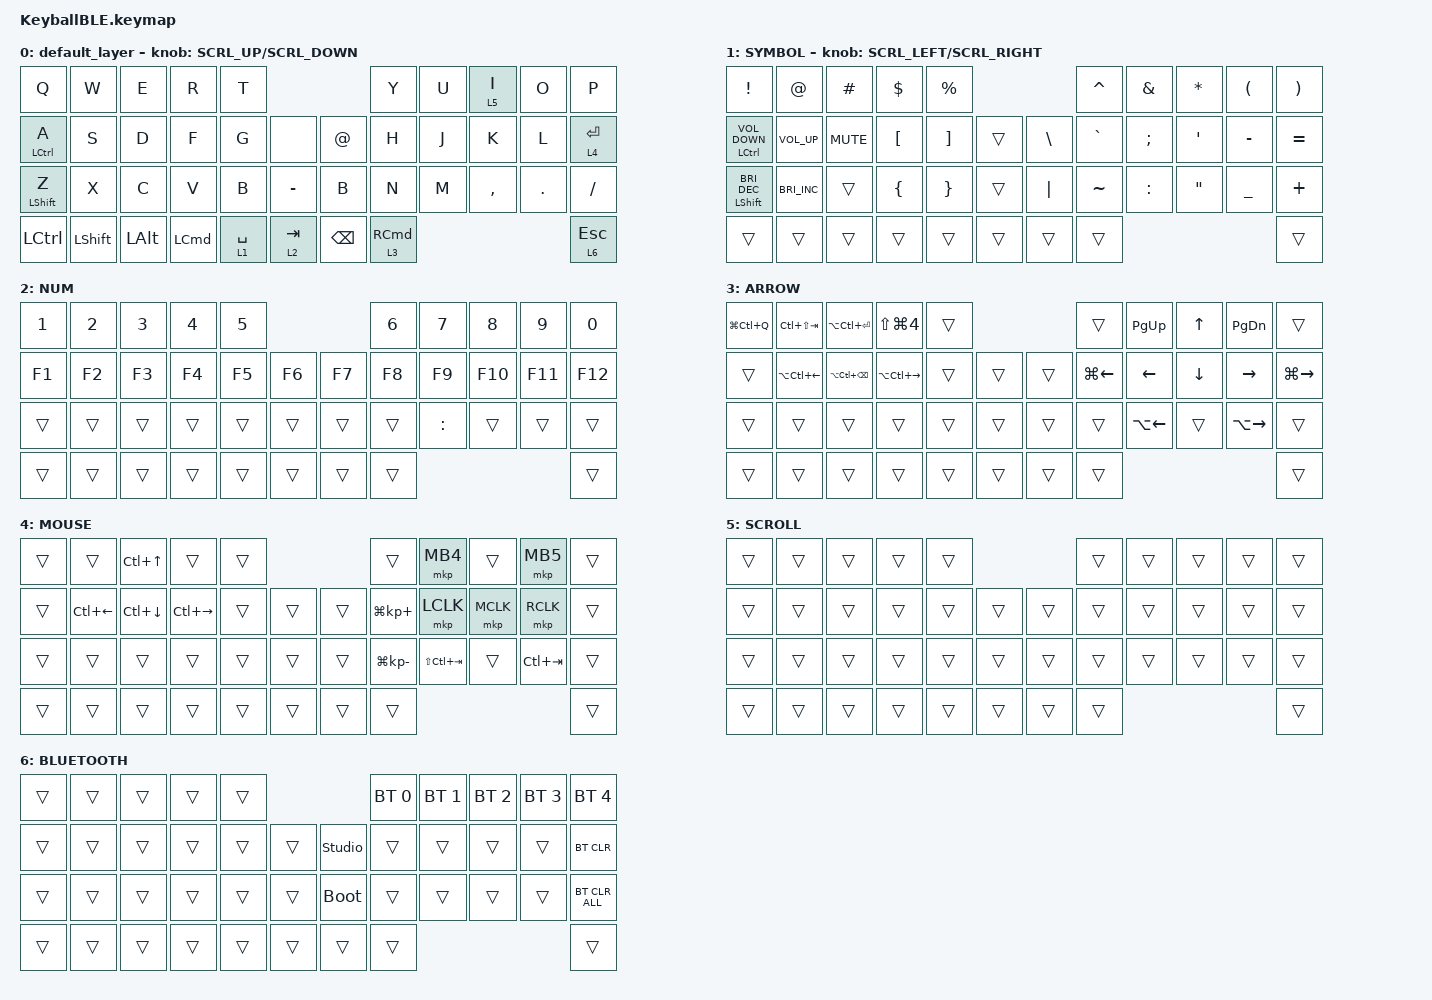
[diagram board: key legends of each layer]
#define ZMK_POINTING_DEFAULT_SCRL_VAL 300

#include <behaviors.dtsi>
#include <dt-bindings/zmk/bt.h>
#include <dt-bindings/zmk/keys.h>
#include <dt-bindings/zmk/pointing.h>

&mt {
    flavor = "balanced";
    quick-tap-ms = <0>;
};

/ {
    combos {
        compatible = "zmk,combos";

        double_quotation {
            bindings = <&kp DOUBLE_QUOTES>;
            key-positions = <20 21>;
        };
    };

    macros {
        to_layer_0: to_layer_0 {
            compatible = "zmk,behavior-macro-one-param";
            #binding-cells = <1>;
            bindings = <&to 0 &macro_param_1to1 &kp MACRO_PLACEHOLDER>;
            label = "TO_LAYER_0";
        };
    };

    behaviors {
        lt_to_layer_0: lt_to_layer_0 {
            compatible = "zmk,behavior-hold-tap";
            label = "LAYER_TAP_TO_0";
            bindings = <&mo>, <&to_layer_0>;

            #binding-cells = <2>;
            tapping-term-ms = <200>;
        };

        ROTATE: ROTATE {
            compatible = "zmk,behavior-sensor-rotate-var";
            label = "ROTATE";
            #sensor-binding-cells = <2>;
            bindings = <&msc>, <&msc>;

            tap-ms = <20>;
        };
    };

    keymap {
        compatible = "zmk,keymap";

        default_layer {
            bindings = <
&kp Q               &kp W           &kp E         &kp R             &kp T                                      &kp Y                &kp U  &lt 5 I    &kp O       &kp P
&mt LEFT_CONTROL A  &kp S           &kp D         &kp F             &kp G        &none          &kp AT_SIGN    &kp H                &kp J  &kp K      &kp L       &lt 4 ENTER
&mt LEFT_SHIFT Z    &kp X           &kp C         &kp V             &kp B        &kp MINUS      &kp B          &kp N                &kp M  &kp COMMA  &kp PERIOD  &kp SLASH
&kp LCTRL           &kp LEFT_SHIFT  &kp LEFT_ALT  &kp LEFT_COMMAND  &lt 1 SPACE  &lt 2 TAB      &kp BACKSPACE  &lt 3 RIGHT_COMMAND                                &lt 6 ESCAPE
            >;

            sensor-bindings = <&ROTATE SCRL_UP SCRL_DOWN>;
        };

        SYMBOL {
            bindings = <
&kp EXCLAMATION                  &kp AT_SIGN           &kp HASH    &kp DOLLAR        &kp PERCENT                                   &kp CARET  &kp AMPERSAND  &kp ASTERISK       &kp LEFT_PARENTHESIS  &kp RIGHT_PARENTHESIS
&mt LEFT_CONTROL C_VOLUME_DOWN   &kp C_VOLUME_UP       &kp C_MUTE  &kp LEFT_BRACKET  &kp RIGHT_BRACKET  &trans      &kp BACKSLASH  &kp GRAVE  &kp SEMICOLON  &kp SINGLE_QUOTE   &kp MINUS             &kp EQUAL
&mt LEFT_SHIFT C_BRIGHTNESS_DEC  &kp C_BRIGHTNESS_INC  &trans      &kp LEFT_BRACE    &kp RIGHT_BRACE    &trans      &kp PIPE       &kp TILDE  &kp COLON      &kp DOUBLE_QUOTES  &kp UNDERSCORE        &kp PLUS
&trans                           &trans                &trans      &trans            &trans             &trans      &trans         &trans                                                             &trans
            >;

            sensor-bindings = <&ROTATE SCRL_LEFT SCRL_RIGHT>;
        };

        NUM {
            bindings = <
&kp N1  &kp N2  &kp N3  &kp N4  &kp N5                      &kp N6  &kp N7     &kp N8   &kp N9   &kp N0
&kp F1  &kp F2  &kp F3  &kp F4  &kp F5  &kp F6      &kp F7  &kp F8  &kp F9     &kp F10  &kp F11  &kp F12
&trans  &trans  &trans  &trans  &trans  &trans      &trans  &trans  &kp COLON  &trans   &trans   &trans
&trans  &trans  &trans  &trans  &trans  &trans      &trans  &trans                               &trans
            >;
        };

        ARROW {
            bindings = <
&kp LG(LC(Q))  &kp LC(LS(TAB))         &kp LA(LC(ENTER))      &kp LS(LG(NUMBER_4))     &trans                      &trans              &kp PAGE_UP         &kp UP_ARROW    &kp PAGE_DOWN        &trans
&trans         &kp LA(LC(LEFT_ARROW))  &kp LA(LC(BACKSPACE))  &kp LA(LC(RIGHT_ARROW))  &trans  &trans      &trans  &kp LG(LEFT_ARROW)  &kp LEFT_ARROW      &kp DOWN_ARROW  &kp RIGHT_ARROW      &kp LG(RIGHT_ARROW)
&trans         &trans                  &trans                 &trans                   &trans  &trans      &trans  &trans              &kp LA(LEFT_ARROW)  &trans          &kp LA(RIGHT_ARROW)  &trans
&trans         &trans                  &trans                 &trans                   &trans  &trans      &trans  &trans                                                                       &trans
            >;
        };

        MOUSE {
            bindings = <
&trans  &trans              &kp LC(UP_ARROW)    &trans               &trans                      &trans            &mkp MB4         &trans     &mkp MB5     &trans
&trans  &kp LC(LEFT_ARROW)  &kp LC(DOWN_ARROW)  &kp LC(RIGHT_ARROW)  &trans  &trans      &trans  &kp LG(KP_PLUS)   &mkp LCLK        &mkp MCLK  &mkp RCLK    &trans
&trans  &trans              &trans              &trans               &trans  &trans      &trans  &kp LG(KP_MINUS)  &kp LS(LC(TAB))  &trans     &kp LC(TAB)  &trans
&trans  &trans              &trans              &trans               &trans  &trans      &trans  &trans                                                     &trans
            >;
        };

        SCROLL {
            bindings = <
&trans  &trans  &trans  &trans  &trans                      &trans  &trans  &trans  &trans  &trans
&trans  &trans  &trans  &trans  &trans  &trans      &trans  &trans  &trans  &trans  &trans  &trans
&trans  &trans  &trans  &trans  &trans  &trans      &trans  &trans  &trans  &trans  &trans  &trans
&trans  &trans  &trans  &trans  &trans  &trans      &trans  &trans                          &trans
            >;
        };

        BLUETOOTH {
            bindings = <
&trans  &trans  &trans  &trans  &trans                              &bt BT_SEL 0  &bt BT_SEL 1  &bt BT_SEL 2  &bt BT_SEL 3  &bt BT_SEL 4
&trans  &trans  &trans  &trans  &trans  &trans      &studio_unlock  &trans        &trans        &trans        &trans        &bt BT_CLR
&trans  &trans  &trans  &trans  &trans  &trans      &bootloader     &trans        &trans        &trans        &trans        &bt BT_CLR_ALL
&trans  &trans  &trans  &trans  &trans  &trans      &trans          &trans                                                  &trans
            >;
        };
    };
};
